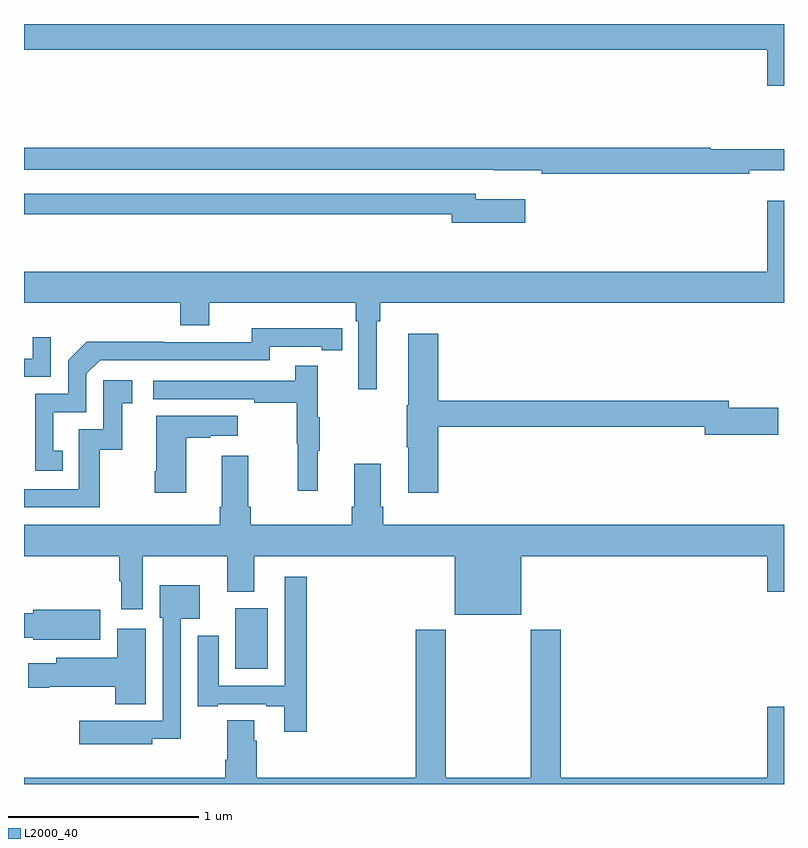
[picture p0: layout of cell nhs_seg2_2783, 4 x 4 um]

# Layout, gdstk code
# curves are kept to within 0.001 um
import gdstk
lib = gdstk.Library(unit=1e-6, precision=1e-09)
def R(c, l, rs):  # rectangles x0, y0, x1, y1
    for r in rs: c.add(gdstk.rectangle(r[:2], r[2:], *l))
def P(c, l, *ps):  # polygons
    for p in ps: c.add(gdstk.Polygon(p, *l))
L2000_40 = (2000, 40)

nhs_seg2_2783 = lib.new_cell('nhs_seg2_2783')
R(nhs_seg2_2783, L2000_40, [(258.113,616.406,258.283,616.726)])
P(nhs_seg2_2783, L2000_40, [(261,619.8),(257,619.8),(257,619.664),(260.912,619.664),(260.912,619.476),(261,619.476)],
  [(260.816,619.031),(261,619.031),(261,619.141),(260.614,619.141),(260.614,619.148),(257,619.148),(257,619.032),(259.474,619.032),(259.474,619.031),(259.726,619.031),(259.726,619.012),(260.816,619.012)],
  [(259.639,618.877),(259.378,618.877),(259.378,618.906),(257,618.906),(257,618.798),(259.25,618.798),(259.25,618.755),(259.639,618.755)],
  [(258.856,618.236),(258.875,618.236),(258.875,618.332),(261,618.332),(261,618.871),(260.912,618.871),(260.912,618.496),(257,618.496),(257,618.332),(257.822,618.332),(257.822,618.215),(257.974,618.215),(257.974,618.332),(258.746,618.332),(258.746,618.236),(258.759,618.236),(258.759,617.877),(258.856,617.877)],
  [(257.204,617.553),(257.155,617.553),(257.155,617.757),(257.328,617.757),(257.328,617.958),(257.4,618.03),(258.294,618.03),(258.294,618.102),(258.566,618.102),(258.566,618.082),(258.674,618.082),(258.674,618.198),(258.198,618.199),(258.198,618.126),(257.738,618.126),(257.738,618.128),(257.33,618.128),(257.232,618.03),(257.232,617.853),(257.058,617.853),(257.058,617.448),(257.204,617.448)],
  [(259.181,617.68),(260.582,617.68),(260.582,617.638),(260.971,617.638),(260.971,617.78),(260.71,617.78),(260.71,617.816),(259.181,617.816),(259.181,618.169),(259.022,618.169),(259.022,617.793),(259.015,617.793),(259.015,617.572),(259.022,617.572),(259.022,617.334),(259.181,617.334)],
  [(257.142,618.151),(257.045,618.151),(257.045,618.039),(257,618.039),(257,617.943),(257.142,617.943)],
  [(258.545,617.555),(258.556,617.555),(258.556,617.729),(258.545,617.729),(258.545,618.001),(258.427,618.001),(258.427,617.922),(257.679,617.922),(257.679,617.826),(258.211,617.826),(258.211,617.806),(258.435,617.806),(258.435,617.592),(258.442,617.592),(258.442,617.343),(258.545,617.343)],
  [(257.398,617.559),(257.516,617.559),(257.516,617.805),(257.569,617.805),(257.569,617.926),(257.418,617.926),(257.418,617.667),(257.289,617.667),(257.289,617.352),(257,617.352),(257,617.256),(257.398,617.256)],
  [(257.854,617.623),(257.981,617.623),(257.981,617.633),(258.124,617.633),(258.124,617.737),(257.696,617.737),(257.696,617.446),(257.689,617.446),(257.689,617.334),(257.854,617.334)],
  [(259.618,617),(260.912,617),(260.912,616.812),(261,616.812),(261,617.164),(258.89,617.164),(258.89,617.26),(258.877,617.26),(258.877,617.485),(258.737,617.485),(258.737,617.26),(258.725,617.26),(258.725,617.164),(258.194,617.164),(258.194,617.26),(258.181,617.26),(258.181,617.527),(258.041,617.527),(258.041,617.26),(258.029,617.26),(258.029,617.164),(257,617.164),(257,617),(257.501,617),(257.501,616.868),(257.513,616.868),(257.513,616.719),(257.626,616.719),(257.626,617),(258.071,617),(258.071,616.811),(258.211,616.811),(258.211,617),(259.268,617),(259.268,616.691),(259.618,616.691)],
  [(258.488,616.891),(258.372,616.891),(258.372,616.317),(258.025,616.317),(258.025,616.579),(257.915,616.579),(257.915,616.209),(258.019,616.209),(258.019,616.221),(258.275,616.221),(258.275,616.209),(258.371,616.209),(258.371,616.074),(258.488,616.074)],
  [(257.676,616.037),(257.826,616.037),(257.826,616.67),(257.926,616.67),(257.926,616.846),(257.714,616.846),(257.714,616.674),(257.73,616.674),(257.73,616.134),(257.514,616.134),(257.514,616.132),(257.291,616.132),(257.291,616.01),(257.676,616.01)],
  [(257.401,616.717),(257.048,616.717),(257.048,616.699),(257,616.699),(257,616.57),(257.048,616.57),(257.048,616.559),(257.401,616.559)],
  [(257.641,616.618),(257.492,616.618),(257.492,616.465),(257.171,616.465),(257.171,616.435),(257.022,616.435),(257.022,616.306),(257.134,616.306),(257.134,616.313),(257.48,616.313),(257.48,616.219),(257.641,616.219)],
  [(261,616.207),(260.912,616.207),(260.912,615.832),(259.826,615.832),(259.826,616.612),(259.666,616.612),(259.666,615.832),(259.221,615.832),(259.221,616.612),(259.061,616.612),(259.061,615.832),(258.224,615.832),(258.224,616.028),(258.211,616.028),(258.211,616.136),(258.071,616.136),(258.071,615.928),(258.059,615.928),(258.059,615.832),(257,615.832),(257,615.8),(261,615.8)])

lib.write_gds('nhs_seg2_2783.gds')
